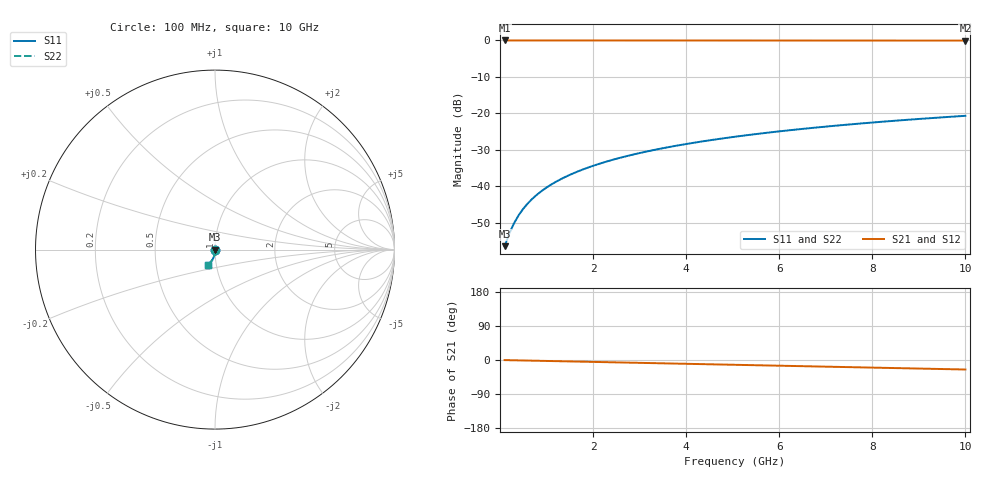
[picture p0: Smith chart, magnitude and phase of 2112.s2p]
# Hz S RI R 50.00
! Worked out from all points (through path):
!   100 points, 100 MHz to 10 GHz, reference 50 ohm
!   highest |S21| = -0.01 dB at 100 MHz (marker M1); lowest = -0.1 dB at 10 GHz (marker M2)
!   group delay of S21, straight-line fit = 6.97 ps
!   lowest |S11| = -56.5 dB at 100 MHz (marker M3), VSWR 1.00, Z = 50.1 - j0.0956 ohm
!   |S11| at or under -10 dB: start of sweep to end of sweep
!   |S22| runs from -56.5 to -20.7 dB; largest |S21 - S12| = 0
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1e8  0.00116 -0.000953  0.9988 -0.00437  0.9988 -0.00437  0.00116 -0.000953
2e8  0.00115 -0.00191  0.9988 -0.00874  0.9988 -0.00874  0.00115 -0.00191
3e8  0.00113 -0.00286  0.9987 -0.0131  0.9987 -0.0131  0.00113 -0.00286
4e8  0.0011 -0.00381  0.9986 -0.0175  0.9986 -0.0175  0.0011 -0.00381
5e8  0.00107 -0.00477  0.9986 -0.0218  0.9986 -0.0218  0.00107 -0.00477
6e8  0.00102 -0.00572  0.9984 -0.0262  0.9984 -0.0262  0.00102 -0.00572
7e8  0.000971 -0.00667  0.9983 -0.0306  0.9983 -0.0306  0.000971 -0.00667
9e8  0.000839 -0.00857  0.998 -0.0393  0.998 -0.0393  0.000839 -0.00857
1e9  0.00076 -0.00952  0.9978 -0.0437  0.9978 -0.0437  0.00076 -0.00952
1.2e9  0.000577 -0.0114  0.9973 -0.0524  0.9973 -0.0524  0.000577 -0.0114
1.5e9  0.00024 -0.0143  0.9965 -0.0655  0.9965 -0.0655  0.00024 -0.0143
1.8e9  -0.000173 -0.0171  0.9955 -0.0786  0.9955 -0.0786  -0.000173 -0.0171
2.1e9  -0.00066 -0.0199  0.9943 -0.0916  0.9943 -0.0916  -0.00066 -0.0199
2.5e9  -0.00142 -0.0237  0.9925 -0.109  0.9925 -0.109  -0.00142 -0.0237
2.9e9  -0.00232 -0.0274  0.9903 -0.1263  0.9903 -0.1263  -0.00232 -0.0274
3.4e9  -0.00362 -0.032  0.9871 -0.148  0.9871 -0.148  -0.00362 -0.032
4.2e9  -0.00612 -0.0392  0.981 -0.1824  0.981 -0.1824  -0.00612 -0.0392
5.1e9  -0.00953 -0.0471  0.9727 -0.2208  0.9727 -0.2208  -0.00953 -0.0471
5.9e9  -0.0131 -0.0539  0.9639 -0.2547  0.9639 -0.2547  -0.0131 -0.0539
6.7e9  -0.0171 -0.0605  0.954 -0.2882  0.954 -0.2882  -0.0171 -0.0605
8.4e9  -0.0271 -0.0733  0.9288 -0.358  0.9288 -0.358  -0.0271 -0.0733
1e10  -0.0381 -0.084  0.9002 -0.4216  0.9002 -0.4216  -0.0381 -0.084
